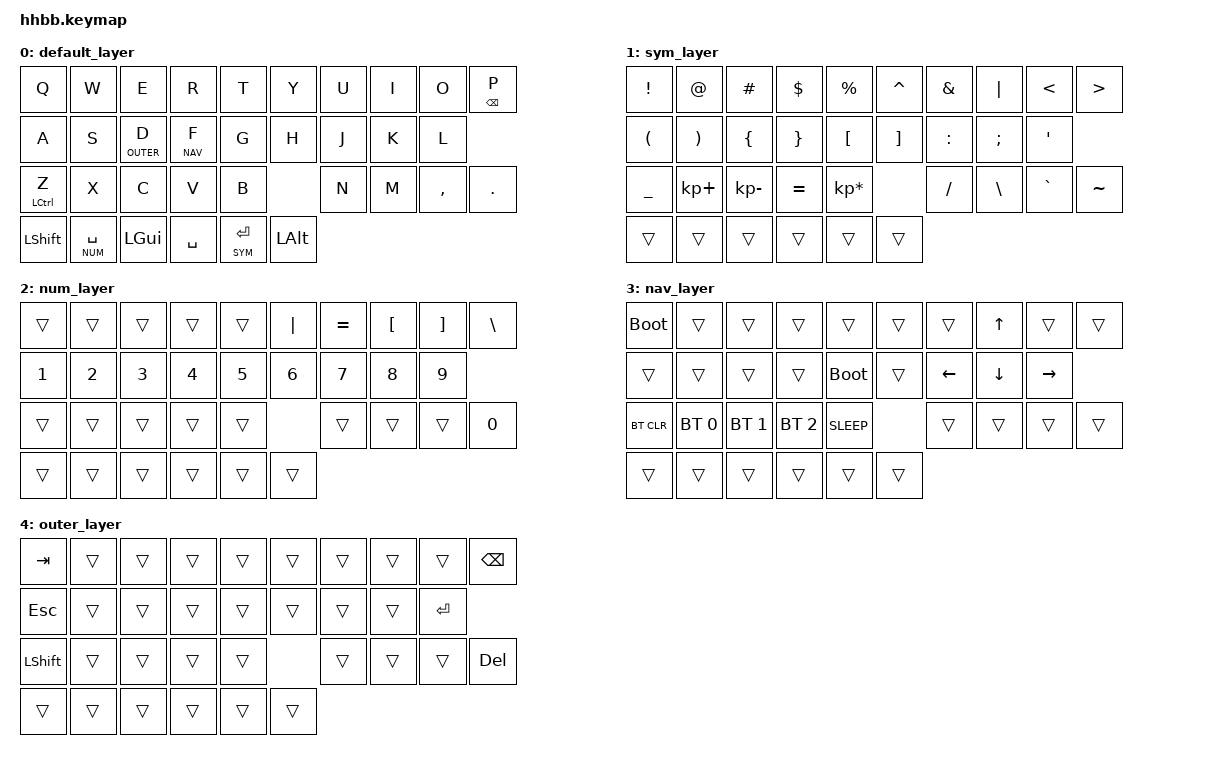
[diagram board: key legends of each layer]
/*
 * Copyright (c) 2021 The ZMK Contributors
 *
 * SPDX-License-Identifier: MIT
 */

#include <behaviors.dtsi>
#include <dt-bindings/zmk/keys.h>
#include <dt-bindings/zmk/bt.h>
#define DEFAULT  0
#define SYM      1
#define NUM      2
#define NAV      3
#define OUTER    4

/ {
    behaviors {
        p_bspc: p_bspc {
            compatible = "zmk,behavior-hold-tap";
            label = "P_BSPC";
            #binding-cells = <2>;
            tapping-term-ms = <150>;
            flavor = "tap-preferred";
            bindings = <&kp>, <&kp>;
        };
    };

    keymap {
        compatible = "zmk,keymap";

        // Default layer
        // |-----------------------------------------------------------|
        // |  Q  |  W  |  E  |  R  |  T  |  Y  |  U  |  I  |  O  |  P  |
        // |-----------------------------------------------------------|
        // |  A  |  S  |  D  |  F  |  G  |  H  |  J  |  K  |     L     |
        // |-----------------------------------------------------------|
        // |  Z     |  X  |  C  |  V  |  B  |  N  |  M  |  ,  |   .    |
        // |-----------------------------------------------------------|
        //        | LSFT | NUM |  LGUI  | SPC  | SYM | LALT |
        //        |-------------------------------------------|
        default_layer {
            bindings = <
    &kp Q      &kp W       &kp E         &kp R           &kp T      &kp Y     &kp U   &kp I     &kp O     &p_bspc BSPC P
    &kp A      &kp S       &lt OUTER D      &lt NAV F        &kp G     &kp H     &kp J   &kp K     &kp L
    &mt LCTRL Z &kp X       &kp C         &kp V           &kp B      &kp N     &kp M   &kp COMMA &kp DOT
    &kp LSHIFT  &lt NUM SPACE &kp LGUI      &kp SPACE       &lt SYM ENTER &kp LALT
            >;
        };

        // Symbol layer
        // |------------------------------------------------------------------|
        // |  !  |  @  |  #  |  $  |  %  |  ^  |  &  |  |  |  <  |  >  |
        // |------------------------------------------------------------------|
        // |  (  |  )  |  {  |  }  |  [  |  ]  |  :  |  ;  |  '  |
        // |------------------------------------------------------------------|
        // |  _  |  +  |  -  |  =  |  *  |  /  |  \  |  `  |  ~  |
        // |------------------------------------------------------------------|
        //        | TRNS | TRNS | TRNS | TRNS | TRNS | TRNS |
        //        |-------------------------------------------|
        sym_layer {
            bindings = <
    &kp EXCL   &kp AT     &kp HASH    &kp DLLR   &kp PRCNT &kp CARET &kp AMPS  &kp PIPE   &kp LT    &kp GT
    &kp LPAR   &kp RPAR   &kp LBRC    &kp RBRC   &kp LBKT  &kp RBKT  &kp COLON &kp SEMI   &kp SQT
    &kp UNDER  &kp KP_PLUS &kp KP_MINUS &kp EQUAL  &kp KP_MULTIPLY &kp FSLH  &kp BSLH  &kp GRAVE  &kp TILDE
    &trans     &trans     &trans       &trans     &trans    &trans
            >;
        };

        // Number layer
        // |-----------------------------------------------------------------|
        // | TRNS | TRNS | TRNS | TRNS | TRNS | PIPE |  =  |  [  |  ]  |  \  |
        // |-----------------------------------------------------------------|
        // |  1   |  2   |  3   |  4   |  5   |  6  |  7  |  8  |  9  |
        // |-----------------------------------------------------------------|
        // | TRNS | TRNS | TRNS | TRNS | TRNS | TRNS | TRNS | TRNS |  0  |
        // |-----------------------------------------------------------------|
        //        | TRNS | TRNS | TRNS | TRNS | TRNS | TRNS |
        //        |-------------------------------------------|
        num_layer {
            bindings = <
    &trans  &trans  &trans  &trans  &trans  &kp PIPE &kp EQUAL &kp LBKT &kp RBKT &kp BSLH
    &kp N1  &kp N2  &kp N3  &kp N4  &kp N5  &kp N6   &kp N7   &kp N8   &kp N9
    &trans  &trans  &trans  &trans  &trans  &trans   &trans   &trans   &kp N0
    &trans  &trans  &trans  &trans  &trans  &trans
            >;
        };

        // Navigation / system layer
        // |-----------------------------------------------------------------|
        // | BTL  | TRNS | TRNS | TRNS | TRNS | TRNS | TRNS |  UP | TRNS | TRNS |
        // |-----------------------------------------------------------------|
        // | TRNS | TRNS | TRNS | TRNS | BTL  | TRNS | LEFT | DOWN | RIGHT |
        // |-----------------------------------------------------------------|
        // | BCLR | BT0  | BT1  | BT2  | SLP  | TRNS | TRNS | TRNS | TRNS |
        // |-----------------------------------------------------------------|
        //        | TRNS | TRNS | TRNS | TRNS | TRNS | TRNS |
        //        |-------------------------------------------|
        nav_layer {
            bindings = <
    &bootloader &trans       &trans       &trans       &trans &trans      &trans     &kp UP    &trans &trans
    &trans      &trans       &trans       &trans       &bootloader &trans  &kp LEFT   &kp DOWN  &kp RIGHT
    &bt BT_CLR  &bt BT_SEL 0 &bt BT_SEL 1 &bt BT_SEL 2 &kp C_SLEEP &trans  &trans     &trans    &trans
    &trans      &trans       &trans       &trans       &trans     &trans
            >;
        };

        // Outer keys layer (hold G)
        // |-----------------------------------------------------------------|
        // | TAB  | TRNS | TRNS | TRNS | TRNS | TRNS | TRNS | TRNS | TRNS | BSPC |
        // |-----------------------------------------------------------------|
        // | ESC  | TRNS | TRNS | TRNS | TRNS | TRNS | TRNS | TRNS | ENTER |
        // |-----------------------------------------------------------------|
        // | LSHFT| TRNS | TRNS | TRNS | TRNS | TRNS | TRNS | TRNS |  DEL  |
        // |-----------------------------------------------------------------|
        //        | TRNS | TRNS | TRNS | TRNS | TRNS | TRNS |
        //        |-------------------------------------------|
        outer_layer {
            bindings = <
    &kp TAB    &trans  &trans  &trans  &trans  &trans  &trans  &trans  &trans  &kp BSPC
    &kp ESC    &trans  &trans  &trans  &trans  &trans  &trans  &trans  &kp ENTER
    &kp LSHIFT &trans  &trans  &trans  &trans  &trans  &trans  &trans  &kp DEL
    &trans     &trans  &trans  &trans  &trans  &trans
            >;
        };
    };
};
